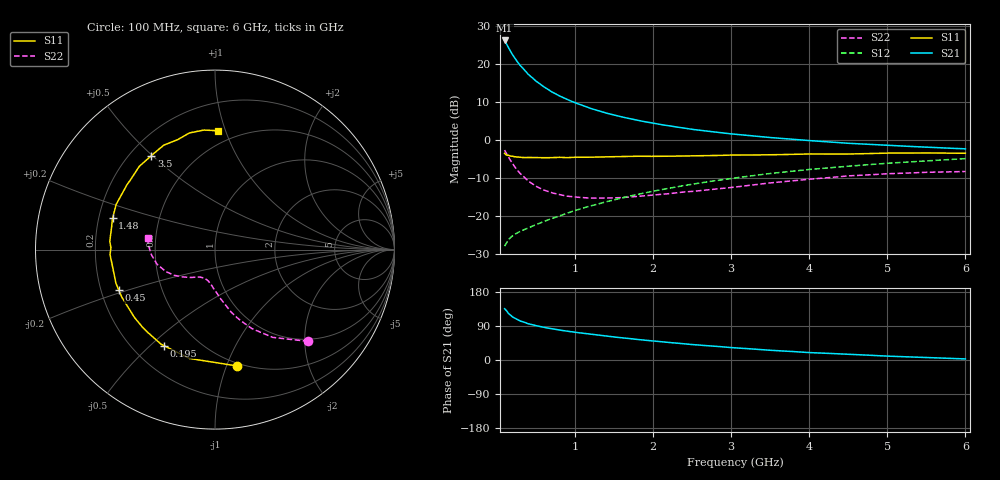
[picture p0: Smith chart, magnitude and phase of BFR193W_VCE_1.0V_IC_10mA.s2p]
! Infineon Technologies  Discrete & RF Semiconductors
! BFR193W
! VCE =  1.0 V,  IC =  10 mA
! Common Emitter S-Parameters:  Nov 2015
# GHz  S  MA  R  50
!  f  S11  S21  S12  S22
! GHz  MAG  ANG  MAG  ANG  MAG  ANG  MAG  ANG
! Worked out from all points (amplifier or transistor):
!   192 points, 100 MHz to 6 GHz, reference 50 ohm
!   highest |S21| = 26.1 dB at 100 MHz (marker M1)
!   |S21| within 3 dB of that: start of sweep to 180.4 MHz
!   unconditionally stable (mu >= 1): 893.2 MHz to 2.769 GHz
!   at 440 MHz: K = 0.73, MSG = 19.7 dB, |S12| = -22.9 dB
!   at 1.7 GHz: K = 1.05, MAG = 8.8 dB, |S12| = -14.9 dB
!   at 6 GHz: K = 0.95, MSG = 1.3 dB, |S12| = -5.0 dB
!   S11 on the Smith chart (normalised r, x): 100 MHz: 0.47, -1.09; 195 MHz: 0.33, -0.55; 450 MHz: 0.27, -0.19; 1.48 GHz: 0.26, +0.14; 3.5 GHz: 0.28, +0.50; 6 GHz: 0.40, +0.94
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0.1  0.6596 -79.3  20.18 135.3  0.0397 56.4  0.7291 -44.5
0.15  0.623 -103.2  16.11 122.6  0.0484 49.7  0.5863 -56.6
0.195  0.606 -118.0  13.46 114.8  0.0536 46.8  0.4949 -64.0
0.2  0.6067 -119.7  13.18 113.8  0.0542 46.5  0.4854 -65.0
0.24  0.5942 -129.2  11.44 109.1  0.0576 45.6  0.4242 -69.8
0.26  0.5913 -133.3  10.7 106.9  0.0592 45.4  0.399 -72.0
0.3  0.5867 -140.0  9.453 102.9  0.0622 45.5  0.3584 -75.6
0.4  0.5827 -152.8  7.275 95.8  0.0687 46.9  0.2868 -82.3
0.45  0.5814 -157.0  6.588 93.5  0.0723 48.2  0.2652 -84.6
0.5  0.5831 -161.1  5.913 90.7  0.0759 49.3  0.2441 -87.2
0.6  0.5785 -167.7  4.975 86.3  0.0836 51.2  0.2178 -91.9
0.7  0.5798 -172.8  4.277 82.5  0.0913 53.1  0.2005 -95.2
0.9  0.5798 179.0  3.37 76.0  0.108 56.2  0.1805 -101.1
1.1  0.5869 172.5  2.819 70.8  0.1254 58.1  0.1728 -106.5
1.48  0.5962 162.9  2.132 61.3  0.1596 59.9  0.1718 -115.4
2.08  0.6038 149.2  1.594 48.7  0.2174 59.4  0.19 -125.8
2.5  0.6097 141.2  1.366 40.8  0.259 57.8  0.2083 -132.0
3.1  0.627 130.7  1.165 31.5  0.3184 53.9  0.2412 -141.4
3.5  0.6326 124.1  1.067 25.7  0.3587 50.9  0.2697 -148.0
4.1  0.6472 114.6  0.957 18.8  0.4134 45.7  0.3071 -158.4
5.1  0.6652 101.0  0.833 9.5  0.4965 36.8  0.3587 -177.3
6  0.6624 88.6  0.757 2.8  0.5625 28.5  0.3813 170.3
